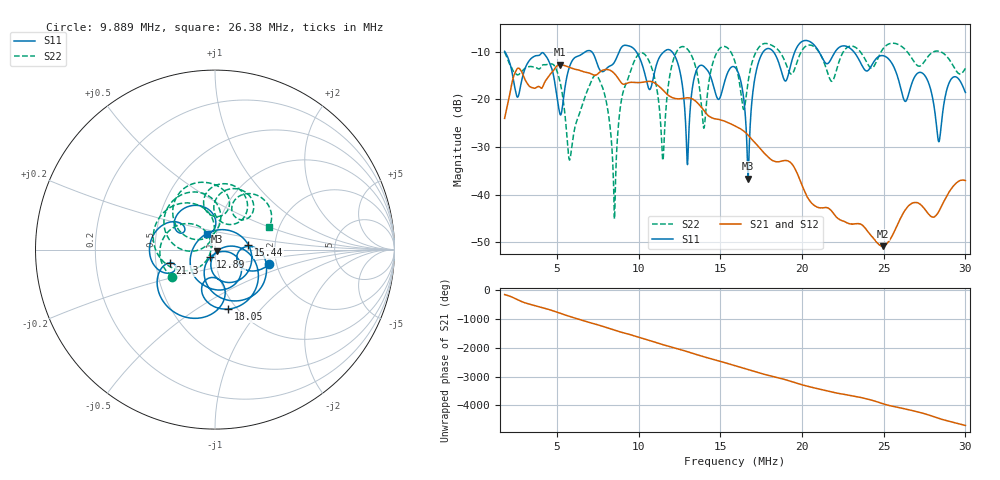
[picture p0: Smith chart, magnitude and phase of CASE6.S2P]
!Agilent Technologies,E5061B,MY49101568,A.02.00
!Date: Wed Mar 01 16:30:44 2023
!Data & Calibration Information:
!Freq	S11:SOLT2(OFF)	S21:SOLT2(OFF)	S12:SOLT2(OFF)	S22:SOLT2(OFF)
# Hz S dB R 50
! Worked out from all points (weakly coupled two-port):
!   1155 points, 1.8 MHz to 30 MHz, reference 50 ohm
!   highest |S21| = -12.71 dB at 5.197 MHz (marker M1); lowest = -50.9 dB at 24.97 MHz (marker M2)
!   lowest |S11| = -36.6 dB at 16.71 MHz (marker M3), VSWR 1.03, Z = 51.1 - j1.02 ohm
!   |S11| at or under -10 dB: 1.82 MHz to 6.729 MHz (4.909 MHz wide, 115 % of centre); 12.05 MHz to 17.63 MHz (5.578 MHz wide, 37.6 % of centre); 23.17 MHz to end of sweep (the widest 3 of 7)
!   |S22| runs from -45.1 to -8.2 dB; largest |S21 - S12| = 0.0031
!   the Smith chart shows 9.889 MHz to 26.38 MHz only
!   S11 on the Smith chart (normalised r, x): 9.889 MHz: 1.82, -0.33; 12.89 MHz: 0.95, -0.08; 15.44 MHz: 1.46, +0.08; 18.05 MHz: 0.91, -0.68; 21.3 MHz: 0.59, -0.09; 26.38 MHz: 0.90, +0.16
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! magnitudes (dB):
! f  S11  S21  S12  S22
! 1.8 MHz  -9.9  -24.0  -24.0  -10.1
! 5.197 MHz  -23.2  -12.7  -12.7  -16.4
! 5.783 MHz  -13.0  -13.3  -13.3  -32.8
! 6.516 MHz  -10.5  -14.1  -14.0  -21.5
! 7.665 MHz  -14.0  -14.1  -14.1  -16.4
! 8.52 MHz  -12.2  -14.6  -14.5  -45.1
! 8.96 MHz  -9.0  -16.6  -16.5  -19.9
! 9.889 MHz  -10.1  -16.5  -16.5  -11.0
! 11.21 MHz  -11.6  -17.1  -17.2  -19.9
! 11.5 MHz  -10.2  -18.1  -18.1  -32.7
! 12.89 MHz  -26.3  -19.7  -19.7  -9.2
! 13.99 MHz  -13.1  -22.3  -22.3  -26.1
! 15.44 MHz  -14.5  -24.8  -24.9  -9.2
! 15.9 MHz  -13.3  -25.6  -25.6  -12.1
! 16.71 MHz  -36.6  -27.6  -27.6  -16.2
! 18.05 MHz  -9.4  -32.5  -32.6  -8.5
! 20.62 MHz  -8.2  -41.9  -41.9  -8.7
! 21.3 MHz  -11.7  -42.8  -42.7  -11.8
! 24.97 MHz  -10.8  -50.9  -50.8  -9.3
! 25.31 MHz  -11.5  -49.9  -49.8  -8.4
! 26.38 MHz  -20.3  -42.9  -42.9  -9.8
! 30 MHz  -18.5  -37.1  -37.0  -13.5
